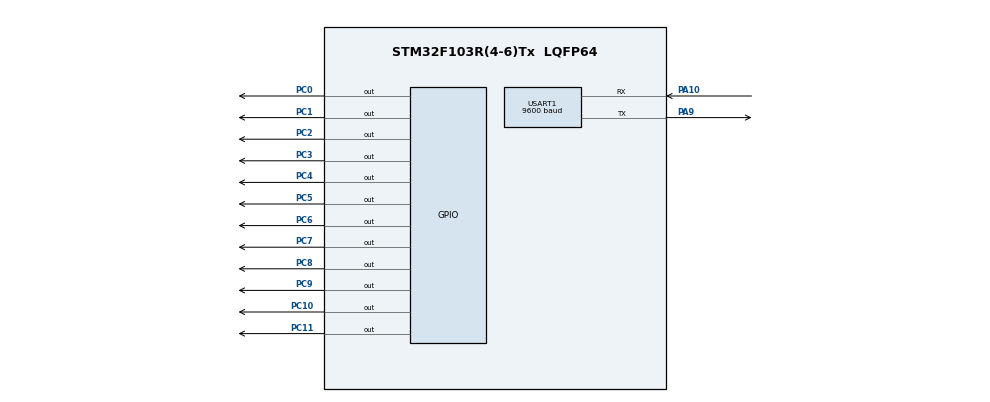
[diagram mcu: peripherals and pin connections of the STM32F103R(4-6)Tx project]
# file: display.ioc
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FREERTOS.Tasks01=defaultTask,0,128,StartDefaultTask,Default,NULL
Mcu.Family=STM32F1
Mcu.Name=STM32F103R(4-6)Tx
Mcu.Package=LQFP64
NVIC.PriorityGroup=NVIC_PRIORITYGROUP_4
NVIC.TIM1_UP_IRQn=true\:0\:0\:false\:false\:true\:false\:false\:true
NVIC.TimeBase=TIM1_UP_IRQn
NVIC.TimeBaseIP=TIM1
NVIC.USART1_IRQn=true\:5\:0\:false\:false\:true\:true\:true\:true
PA10.Mode=Asynchronous
PA10.Signal=USART1_RX
PA9.Mode=Asynchronous
PA9.Signal=USART1_TX
PC0.Signal=GPIO_Output
PC1.Signal=GPIO_Output
PC10.Signal=GPIO_Output
PC11.Signal=GPIO_Output
PC2.Signal=GPIO_Output
PC3.Signal=GPIO_Output
PC4.Signal=GPIO_Output
PC5.Signal=GPIO_Output
PC6.Signal=GPIO_Output
PC7.Signal=GPIO_Output
PC8.Signal=GPIO_Output
PC9.Signal=GPIO_Output
ProjectManager.HeapSize=0x200
ProjectManager.StackSize=0x400
ProjectManager.TargetToolchain=Makefile
RCC.APB1Freq_Value=8000000
RCC.APB2Freq_Value=8000000
USART1.BaudRate=9600
USART1.VirtualMode=VM_ASYNC
VP_FREERTOS_VS_CMSIS_V1.Mode=CMSIS_V1
VP_SYS_VS_ND.Mode=No_Debug
VP_SYS_VS_tim1.Mode=TIM1
board=custom

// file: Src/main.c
/* USER CODE BEGIN Header */
/**
  ******************************************************************************
  * @file           : main.c
  * @brief          : Main program body
  ******************************************************************************
  * @attention
  *
  * <h2><center>&copy; Copyright (c) 2019 STMicroelectronics.
  * All rights reserved.</center></h2>
  *
  * This software component is licensed by ST under Ultimate Liberty license
  * SLA0044, the "License"; You may not use this file except in compliance with
  * the License. You may obtain a copy of the License at:
  *                             www.st.com/SLA0044
  *
  ******************************************************************************
  */
/* USER CODE END Header */

#include "main.h"
#include "cmsis_os.h"
#include "usart.h"
#include "gpio.h"

void SystemClock_Config(void);
void MX_FREERTOS_Init(void);

int main(void)
{

  /* MCU Configuration--------------------------------------------------------*/

  /* Reset of all peripherals, Initializes the Flash interface and the Systick. */
  HAL_Init();

  /* Configure the system clock */
  SystemClock_Config();

  /* Initialize all configured peripherals */
  MX_GPIO_Init();
  MX_USART1_UART_Init();

  /* Call init function for freertos objects (in freertos.c) */
  MX_FREERTOS_Init();

  /* Start scheduler */
  osKernelStart();

  /* We should never get here as control is now taken by the scheduler */

  /* Infinite loop */
  while (1)
  {

  }
}

void SystemClock_Config(void)
{
  RCC_OscInitTypeDef RCC_OscInitStruct = {0};
  RCC_ClkInitTypeDef RCC_ClkInitStruct = {0};

  /** Initializes the CPU, AHB and APB busses clocks
  */
  RCC_OscInitStruct.OscillatorType = RCC_OSCILLATORTYPE_HSI;
  RCC_OscInitStruct.HSIState = RCC_HSI_ON;
  RCC_OscInitStruct.HSICalibrationValue = RCC_HSICALIBRATION_DEFAULT;
  RCC_OscInitStruct.PLL.PLLState = RCC_PLL_NONE;
  if (HAL_RCC_OscConfig(&RCC_OscInitStruct) != HAL_OK)
  {
    Error_Handler();
  }
  /** Initializes the CPU, AHB and APB busses clocks
  */
  RCC_ClkInitStruct.ClockType = RCC_CLOCKTYPE_HCLK|RCC_CLOCKTYPE_SYSCLK
                              |RCC_CLOCKTYPE_PCLK1|RCC_CLOCKTYPE_PCLK2;
  RCC_ClkInitStruct.SYSCLKSource = RCC_SYSCLKSOURCE_HSI;
  RCC_ClkInitStruct.AHBCLKDivider = RCC_SYSCLK_DIV1;
  RCC_ClkInitStruct.APB1CLKDivider = RCC_HCLK_DIV1;
  RCC_ClkInitStruct.APB2CLKDivider = RCC_HCLK_DIV1;

  if (HAL_RCC_ClockConfig(&RCC_ClkInitStruct, FLASH_LATENCY_0) != HAL_OK)
  {
    Error_Handler();
  }
}

void HAL_TIM_PeriodElapsedCallback(TIM_HandleTypeDef *htim)
{
  if (htim->Instance == TIM1) {
    HAL_IncTick();
  }
}

void Error_Handler(void)
{
}

/************************ (C) COPYRIGHT STMicroelectronics *****END OF FILE****/

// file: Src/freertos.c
/* USER CODE BEGIN Header */
/**
  ******************************************************************************
  * File Name          : freertos.c
  * Description        : Code for freertos applications
  ******************************************************************************
  * @attention
  *
  * <h2><center>&copy; Copyright (c) 2019 STMicroelectronics.
  * All rights reserved.</center></h2>
  *
  * This software component is licensed by ST under Ultimate Liberty license
  * SLA0044, the "License"; You may not use this file except in compliance with
  * the License. You may obtain a copy of the License at:
  *                             www.st.com/SLA0044
  *
  ******************************************************************************
  */
/* USER CODE END Header */

#include "FreeRTOS.h"
#include "task.h"
#include "main.h"
#include "semphr.h"
#include "cmsis_os.h"

/* USER CODE BEGIN Variables */
TaskHandle_t displayHandle;
TaskHandle_t uartHandle;
SemaphoreHandle_t displayMutex;

extern UART_HandleTypeDef huart1;

uint8_t digitShown = 0;
uint8_t encoding[] = { 0x3F, 0x06, 0x5B, 0x4F, 0x66, 0x6D, 0x7D, 0x07, 0x7F, 0x6F };
uint8_t digits[] = {0,0,0,0};
/* USER CODE END Variables */

void DisplayTask(void * argument);
void UartTask(void * argument);

void MX_FREERTOS_Init(void); /* (MISRA C 2004 rule 8.1) */

void MX_FREERTOS_Init(void) {

  /* USER CODE BEGIN RTOS_SEMAPHORES */
  /* add semaphores, ... */
  displayMutex = xSemaphoreCreateMutex();
  /* USER CODE END RTOS_SEMAPHORES */

  /* Create the thread(s) */
  /* definition and creation of defaultTask */

  /* USER CODE BEGIN RTOS_THREADS */
  /* add threads, ... */
	xTaskCreate(DisplayTask, "DisplayTask", 128, NULL, 1, &displayHandle);
	xTaskCreate(UartTask, "UartTask", 128, NULL, 0, &uartHandle);
  /* USER CODE END RTOS_THREADS */

}

void DisplayTask(void * argument)
{
  /* USER CODE BEGIN StartDefaultTask */
  /* Infinite loop */
  for(;;)
  {
	  xSemaphoreTake(displayMutex, HAL_MAX_DELAY);

	  if (digitShown == 0)
	  {
		  HAL_GPIO_WritePin(GPIOC, GPIO_PIN_8, GPIO_PIN_RESET);
		  HAL_GPIO_WritePin(GPIOC, GPIO_PIN_9, GPIO_PIN_SET);
		  HAL_GPIO_WritePin(GPIOC, GPIO_PIN_10, GPIO_PIN_SET);
		  HAL_GPIO_WritePin(GPIOC, GPIO_PIN_11, GPIO_PIN_SET);
	  }
	  else if (digitShown == 1)
	  {
		  HAL_GPIO_WritePin(GPIOC, GPIO_PIN_8, GPIO_PIN_SET);
		  HAL_GPIO_WritePin(GPIOC, GPIO_PIN_9, GPIO_PIN_RESET);
		  HAL_GPIO_WritePin(GPIOC, GPIO_PIN_10, GPIO_PIN_SET);
		  HAL_GPIO_WritePin(GPIOC, GPIO_PIN_11, GPIO_PIN_SET);
	  }
	  else if (digitShown == 2)
	  {
		  HAL_GPIO_WritePin(GPIOC, GPIO_PIN_8, GPIO_PIN_SET);
		  HAL_GPIO_WritePin(GPIOC, GPIO_PIN_9, GPIO_PIN_SET);
		  HAL_GPIO_WritePin(GPIOC, GPIO_PIN_10, GPIO_PIN_RESET);
		  HAL_GPIO_WritePin(GPIOC, GPIO_PIN_11, GPIO_PIN_SET);
	  }
	  else if (digitShown == 3)
	  {
		  HAL_GPIO_WritePin(GPIOC, GPIO_PIN_8, GPIO_PIN_SET);
		  HAL_GPIO_WritePin(GPIOC, GPIO_PIN_9, GPIO_PIN_SET);
		  HAL_GPIO_WritePin(GPIOC, GPIO_PIN_10, GPIO_PIN_SET);
		  HAL_GPIO_WritePin(GPIOC, GPIO_PIN_11, GPIO_PIN_RESET);
	  }

	  for (int i = 0; i < 7; i++)
		  HAL_GPIO_WritePin(GPIOC, 1 << i, (encoding[digits[digitShown]] >> i) & 0x1);

	  xSemaphoreGive(displayMutex);

	  digitShown = (digitShown + 1) % 4;

	  vTaskDelay(25 / portTICK_PERIOD_MS);
  }
  /* USER CODE END StartDefaultTask */
}

/* USER CODE BEGIN Application */

void UartTask(void * argument)
{
	uint8_t data;

	for (;;)
	{
		HAL_UART_Receive(&huart1, &data, 1, HAL_MAX_DELAY);

		if (data >= '0' && data <= '9')
		{
			xSemaphoreTake(displayMutex, HAL_MAX_DELAY);
			digits[3] = digits[2];
			digits[2] = digits[1];
			digits[1] = digits[0];
			digits[0] = data - '0';
			xSemaphoreGive(displayMutex);
		}
	}
}
/* USER CODE END Application */

/************************ (C) COPYRIGHT STMicroelectronics *****END OF FILE****/
